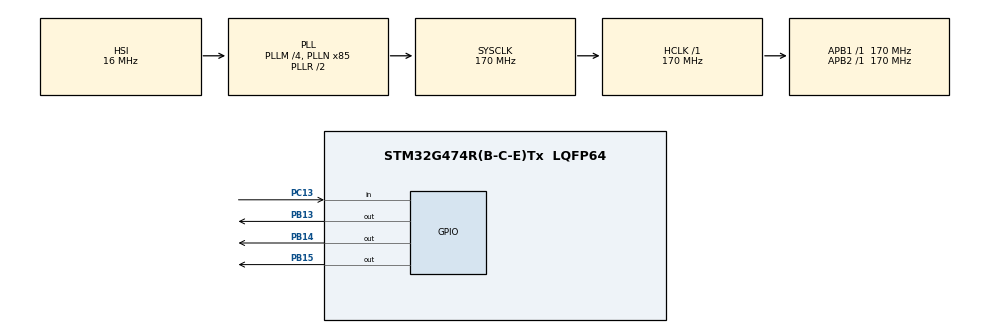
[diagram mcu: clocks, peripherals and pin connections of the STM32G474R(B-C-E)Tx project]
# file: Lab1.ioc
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Mcu.Family=STM32G4
Mcu.Name=STM32G474R(B-C-E)Tx
Mcu.Package=LQFP64
NVIC.PriorityGroup=NVIC_PRIORITYGROUP_4
PB13.Signal=GPIO_Output
PB14.Signal=GPIO_Output
PB15.Signal=GPIO_Output
PC13.Signal=GPIO_Input
ProjectManager.HeapSize=0x200
ProjectManager.StackSize=0x400
ProjectManager.TargetToolchain=STM32CubeIDE
RCC.ADC12Freq_Value=170000000
RCC.ADC345Freq_Value=170000000
RCC.AHBFreq_Value=170000000
RCC.APB1Freq_Value=170000000
RCC.APB1TimFreq_Value=170000000
RCC.APB2Freq_Value=170000000
RCC.APB2TimFreq_Value=170000000
RCC.CortexFreq_Value=170000000
RCC.EXTERNAL_CLOCK_VALUE=12288000
RCC.HCLKFreq_Value=170000000
RCC.HSE_VALUE=24000000
RCC.HSI48_VALUE=48000000
RCC.HSI_VALUE=16000000
RCC.LSE_VALUE=32768
RCC.PLLM=RCC_PLLM_DIV4
RCC.PLLN=85
RCC.RTCClockSelection=RCC_RTCCLKSOURCE_LSE
RCC.SYSCLKFreq_VALUE=170000000
RCC.SYSCLKSource=RCC_SYSCLKSOURCE_PLLCLK
RCC.USBFreq_Value=170000000
RCC.VCOOutputFreq_Value=340000000
VP_SYS_VS_DBSignals.Mode=DisableDeadBatterySignals
board=NUCLEO-G474RE

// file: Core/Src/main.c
/* USER CODE BEGIN Header */
/**
  ******************************************************************************
  * @file           : main.c
  * @brief          : Main program body
  ******************************************************************************
  * @attention
  *
  * Copyright (c) 2026 STMicroelectronics.
  * All rights reserved.
  *
  * This software is licensed under terms that can be found in the LICENSE file
  * in the root directory of this software component.
  * If no LICENSE file comes with this software, it is provided AS-IS.
  *
  ******************************************************************************
  */
/* USER CODE END Header */
#include "main.h"

void SystemClock_Config(void);
static void MX_GPIO_Init(void);

int main(void)
{

  /* MCU Configuration--------------------------------------------------------*/

  /* Reset of all peripherals, Initializes the Flash interface and the Systick. */
  HAL_Init();

  /* Configure the system clock */
  SystemClock_Config();

  /* Initialize all configured peripherals */
  MX_GPIO_Init();
  /* USER CODE BEGIN 2 */
  uint8_t count = 0;
  /* USER CODE END 2 */

  /* Infinite loop */
  /* USER CODE BEGIN WHILE */
  while (1)
  {// 偵測 PC13 按鈕是否被按下
	    if (HAL_GPIO_ReadPin(GPIOC, GPIO_PIN_13) == GPIO_PIN_RESET)
	    {
	        // 按一次，計數加一
	        count++;

	        // 第 4 次之後重新從 0 開始
	        if (count >= 4)
	        {
	            count = 0;
	        }

	        // 根據按鈕次數控制 LED
	        if (count == 0)
	        {
	            // 第 4 次：全部熄滅
	            HAL_GPIO_WritePin(GPIOB, GPIO_PIN_13, GPIO_PIN_RESET);
	            HAL_GPIO_WritePin(GPIOB, GPIO_PIN_14, GPIO_PIN_RESET);
	            HAL_GPIO_WritePin(GPIOB, GPIO_PIN_15, GPIO_PIN_RESET);
	        }
	        else if (count == 1)
	        {
	            // 第 1 次：紅色 LED
	            HAL_GPIO_WritePin(GPIOB, GPIO_PIN_13, GPIO_PIN_SET);
	            HAL_GPIO_WritePin(GPIOB, GPIO_PIN_14, GPIO_PIN_RESET);
	            HAL_GPIO_WritePin(GPIOB, GPIO_PIN_15, GPIO_PIN_RESET);
	        }
	        else if (count == 2)
	        {
	            // 第 2 次：紅色 + 黃色 LED
	            HAL_GPIO_WritePin(GPIOB, GPIO_PIN_13, GPIO_PIN_SET);
	            HAL_GPIO_WritePin(GPIOB, GPIO_PIN_14, GPIO_PIN_SET);
	            HAL_GPIO_WritePin(GPIOB, GPIO_PIN_15, GPIO_PIN_RESET);
	        }
	        else if (count == 3)
	        {
	            // 第 3 次：紅色 + 黃色 + 綠色 LED
	            HAL_GPIO_WritePin(GPIOB, GPIO_PIN_13, GPIO_PIN_SET);
	            HAL_GPIO_WritePin(GPIOB, GPIO_PIN_14, GPIO_PIN_SET);
	            HAL_GPIO_WritePin(GPIOB, GPIO_PIN_15, GPIO_PIN_SET);
	        }

	        // 等待按鈕放開，避免一次按下被判定很多次
	        while (HAL_GPIO_ReadPin(GPIOC, GPIO_PIN_13) == GPIO_PIN_RESET)
	        {
	        }

	        // 簡單的按鍵防彈跳
	        HAL_Delay(50);
	    }
    /* USER CODE END WHILE */

  }
}

void SystemClock_Config(void)
{
  RCC_OscInitTypeDef RCC_OscInitStruct = {0};
  RCC_ClkInitTypeDef RCC_ClkInitStruct = {0};

  /** Configure the main internal regulator output voltage
  */
  HAL_PWREx_ControlVoltageScaling(PWR_REGULATOR_VOLTAGE_SCALE1_BOOST);

  /** Initializes the RCC Oscillators according to the specified parameters
  * in the RCC_OscInitTypeDef structure.
  */
  RCC_OscInitStruct.OscillatorType = RCC_OSCILLATORTYPE_HSI;
  RCC_OscInitStruct.HSIState = RCC_HSI_ON;
  RCC_OscInitStruct.HSICalibrationValue = RCC_HSICALIBRATION_DEFAULT;
  RCC_OscInitStruct.PLL.PLLState = RCC_PLL_ON;
  RCC_OscInitStruct.PLL.PLLSource = RCC_PLLSOURCE_HSI;
  RCC_OscInitStruct.PLL.PLLM = RCC_PLLM_DIV4;
  RCC_OscInitStruct.PLL.PLLN = 85;
  RCC_OscInitStruct.PLL.PLLP = RCC_PLLP_DIV2;
  RCC_OscInitStruct.PLL.PLLQ = RCC_PLLQ_DIV2;
  RCC_OscInitStruct.PLL.PLLR = RCC_PLLR_DIV2;
  if (HAL_RCC_OscConfig(&RCC_OscInitStruct) != HAL_OK)
  {
    Error_Handler();
  }

  /** Initializes the CPU, AHB and APB buses clocks
  */
  RCC_ClkInitStruct.ClockType = RCC_CLOCKTYPE_HCLK|RCC_CLOCKTYPE_SYSCLK
                              |RCC_CLOCKTYPE_PCLK1|RCC_CLOCKTYPE_PCLK2;
  RCC_ClkInitStruct.SYSCLKSource = RCC_SYSCLKSOURCE_PLLCLK;
  RCC_ClkInitStruct.AHBCLKDivider = RCC_SYSCLK_DIV1;
  RCC_ClkInitStruct.APB1CLKDivider = RCC_HCLK_DIV1;
  RCC_ClkInitStruct.APB2CLKDivider = RCC_HCLK_DIV1;

  if (HAL_RCC_ClockConfig(&RCC_ClkInitStruct, FLASH_LATENCY_4) != HAL_OK)
  {
    Error_Handler();
  }
}

static void MX_GPIO_Init(void)
{
  GPIO_InitTypeDef GPIO_InitStruct = {0};

  /* GPIO Ports Clock Enable */
  __HAL_RCC_GPIOC_CLK_ENABLE();
  __HAL_RCC_GPIOB_CLK_ENABLE();

  /*Configure GPIO pin Output Level */
  HAL_GPIO_WritePin(GPIOB, GPIO_PIN_13|GPIO_PIN_14|GPIO_PIN_15, GPIO_PIN_RESET);

  /*Configure GPIO pin : PC13 */
  GPIO_InitStruct.Pin = GPIO_PIN_13;
  GPIO_InitStruct.Mode = GPIO_MODE_INPUT;
  GPIO_InitStruct.Pull = GPIO_NOPULL;
  HAL_GPIO_Init(GPIOC, &GPIO_InitStruct);

  /*Configure GPIO pins : PB13 PB14 PB15 */
  GPIO_InitStruct.Pin = GPIO_PIN_13|GPIO_PIN_14|GPIO_PIN_15;
  GPIO_InitStruct.Mode = GPIO_MODE_OUTPUT_PP;
  GPIO_InitStruct.Pull = GPIO_NOPULL;
  GPIO_InitStruct.Speed = GPIO_SPEED_FREQ_LOW;
  HAL_GPIO_Init(GPIOB, &GPIO_InitStruct);

}

void Error_Handler(void)
{
  __disable_irq();
  while (1)
  {
  }
}
